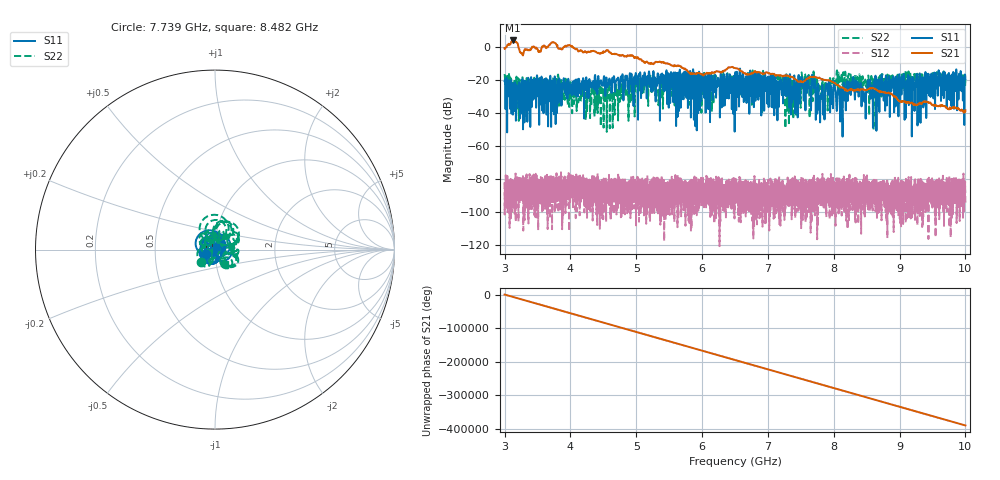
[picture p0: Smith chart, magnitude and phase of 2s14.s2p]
!Agilent Technologies,E8363B,MY43030572,A.06.04.32
!Agilent E8363B: A.06.04.32
!Date: Monday, June 06, 2011 14:39:23
!Correction: S11(Full 2 Port(1,2)) S21(Full 2 Port(1,2)) S12(Full 2 Port(1,2)) S22(Full 2 Port(1,2))
!S2P File: Measurements: S11, S21, S12, S22:
# Hz S  dB  R 50
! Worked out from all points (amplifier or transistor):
!   6401 points, 3 GHz to 10 GHz, reference 50 ohm
!   highest |S21| = 3.9 dB at 3.12 GHz (marker M1)
!   |S21| within 3 dB of that: 3.039 GHz to 3.205 GHz (165.9 MHz wide, 5.32 % of centre)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
!   unconditionally stable (mu >= 1): start of sweep to end of sweep
!   at 4.166 GHz: K = 9360.93, MAG = -2.2 dB, |S12| = -83.2 dB
!   at 6.5 GHz: K = 23154.75, MAG = -12.7 dB, |S12| = -80.6 dB
!   at 10 GHz: K = 2116090.21, MAG = -38.3 dB, |S12| = -94.3 dB
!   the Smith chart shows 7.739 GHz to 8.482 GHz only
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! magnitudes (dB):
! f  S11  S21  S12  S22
! 3 GHz  -20.8  -0.8  -81.8  -16.5
! 3.12 GHz  -24.4  3.9  -80.0  -23.5
! 3.261 GHz  -23.0  -3.8  -86.5  -25.5
! 3.737 GHz  -20.4  2.7  -84.9  -19.1
! 4.167 GHz  -22.4  -2.3  -83.4  -24.2
! 4.354 GHz  -21.8  -2.5  -83.4  -20.9
! 4.648 GHz  -21.2  -4.3  -86.0  -29.1
! 5.131 GHz  -16.2  -9.6  -83.0  -19.3
! 5.334 GHz  -19.4  -9.2  -98.8  -30.2
! 6.005 GHz  -21.9  -16.9  -86.7  -16.7
! 6.5 GHz  -19.1  -12.8  -80.6  -21.7
! 7.052 GHz  -22.6  -16.5  -92.6  -18.1
! 7.352 GHz  -29.0  -18.2  -92.5  -20.6
! 7.667 GHz  -17.9  -18.3  -80.8  -18.9
! 7.761 GHz  -22.4  -18.9  -83.7  -21.7
! 7.904 GHz  -26.9  -20.2  -90.4  -29.5
! 8.108 GHz  -26.0  -24.6  -93.2  -21.9
! 8.275 GHz  -22.6  -25.6  -86.2  -19.7
! 8.455 GHz  -27.4  -25.9  -91.9  -21.6
! 8.542 GHz  -20.4  -25.3  -92.2  -25.4
! 8.834 GHz  -19.4  -27.7  -88.3  -20.8
! 10 GHz  -19.3  -38.4  -94.3  -19.5
